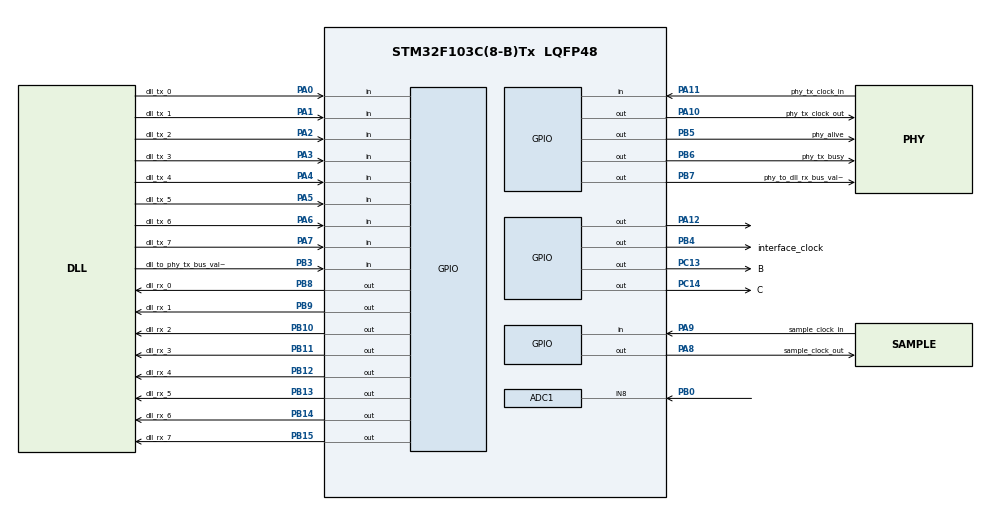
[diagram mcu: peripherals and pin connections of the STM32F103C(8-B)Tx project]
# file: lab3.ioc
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ADC1.Channel-0\#ChannelRegularConversion=ADC_CHANNEL_8
ADC1.ContinuousConvMode=ENABLE
ADC1.NbrOfConversionFlag=1
ADC1.Rank-0\#ChannelRegularConversion=1
ADC1.SamplingTime-0\#ChannelRegularConversion=ADC_SAMPLETIME_1CYCLE_5
ADC1.master=1
Mcu.Family=STM32F1
Mcu.Name=STM32F103C(8-B)Tx
Mcu.Package=LQFP48
NVIC.PriorityGroup=NVIC_PRIORITYGROUP_4
NVIC.TIM2_IRQn=true\:0\:0\:false\:true\:true\:1\:true
NVIC.TIM3_IRQn=true\:0\:0\:false\:true\:true\:2\:true
NVIC.TIM4_IRQn=true\:0\:0\:false\:true\:true\:3\:true
PA0-WKUP.GPIO_Label=dll_tx_0
PA0-WKUP.GPIO_PuPd=GPIO_PULLDOWN
PA0-WKUP.Signal=GPIO_Input
PA1.GPIO_Label=dll_tx_1
PA1.GPIO_PuPd=GPIO_PULLDOWN
PA1.Signal=GPIO_Input
PA10.GPIO_Label=phy_tx_clock_out
PA10.Signal=GPIO_Output
PA11.GPIO_Label=phy_tx_clock_in
PA11.GPIO_PuPd=GPIO_PULLDOWN
PA11.Signal=GPIO_Input
PA12.Signal=GPIO_Output
PA13.Mode=Serial_Wire
PA13.Signal=SYS_JTMS-SWDIO
PA14.Mode=Serial_Wire
PA14.Signal=SYS_JTCK-SWCLK
PA2.GPIO_Label=dll_tx_2
PA2.GPIO_PuPd=GPIO_PULLDOWN
PA2.Signal=GPIO_Input
PA3.GPIO_Label=dll_tx_3
PA3.GPIO_PuPd=GPIO_PULLDOWN
PA3.Signal=GPIO_Input
PA4.GPIO_Label=dll_tx_4
PA4.GPIO_PuPd=GPIO_PULLDOWN
PA4.Signal=GPIO_Input
PA5.GPIO_Label=dll_tx_5
PA5.GPIO_PuPd=GPIO_PULLDOWN
PA5.Signal=GPIO_Input
PA6.GPIO_Label=dll_tx_6
PA6.GPIO_PuPd=GPIO_PULLDOWN
PA6.Signal=GPIO_Input
PA7.GPIO_Label=dll_tx_7
PA7.GPIO_PuPd=GPIO_PULLDOWN
PA7.Signal=GPIO_Input
PA8.GPIO_Label=sample_clock_out
PA8.Signal=GPIO_Output
PA9.GPIO_Label=sample_clock_in
PA9.Signal=GPIO_Input
PB0.Signal=ADCx_IN8
PB10.GPIO_Label=dll_rx_2
PB10.Signal=GPIO_Output
PB11.GPIO_Label=dll_rx_3
PB11.Signal=GPIO_Output
PB12.GPIO_Label=dll_rx_4
PB12.Signal=GPIO_Output
PB13.GPIO_Label=dll_rx_5
PB13.Signal=GPIO_Output
PB14.GPIO_Label=dll_rx_6
PB14.Signal=GPIO_Output
PB15.GPIO_Label=dll_rx_7
PB15.Signal=GPIO_Output
PB3.GPIO_Label=dll_to_phy_tx_bus_valid
PB3.GPIO_PuPd=GPIO_PULLDOWN
PB3.Signal=GPIO_Input
PB4.GPIO_Label=interface_clock
PB4.Signal=GPIO_Output
PB5.GPIO_Label=phy_alive
PB5.Signal=GPIO_Output
PB6.GPIO_Label=phy_tx_busy
PB6.Signal=GPIO_Output
PB7.GPIO_Label=phy_to_dll_rx_bus_valid
PB7.Signal=GPIO_Output
PB8.GPIO_Label=dll_rx_0
PB8.Signal=GPIO_Output
PB9.GPIO_Label=dll_rx_1
PB9.Signal=GPIO_Output
PC13-TAMPER-RTC.GPIO_Label=B
PC13-TAMPER-RTC.Signal=GPIO_Output
PC14-OSC32_IN.GPIO_Label=C
PC14-OSC32_IN.Signal=GPIO_Output
ProjectManager.HeapSize=0x200
ProjectManager.StackSize=0x400
ProjectManager.TargetToolchain=MDK-ARM V5
RCC.APB1Freq_Value=8000000
RCC.APB2CLKDivider=RCC_HCLK_DIV16
RCC.APB2Freq_Value=500000
RCC.APB2TimFreq_Value=1000000
SH.ADCx_IN8.0=ADC1_IN8,IN8
TIM2.AutoReloadPreload=TIM_AUTORELOAD_PRELOAD_DISABLE
TIM2.Period=1
TIM2.Prescaler=4999
TIM3.Period=6
TIM3.Prescaler=3332
TIM4.AutoReloadPreload=TIM_AUTORELOAD_PRELOAD_DISABLE
TIM4.Period=1
TIM4.Prescaler=3332
VP_TIM2_VS_ClockSourceINT.Mode=Internal
VP_TIM3_VS_ClockSourceINT.Mode=Internal
VP_TIM4_VS_ClockSourceINT.Mode=Internal
board=custom

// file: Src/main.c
/**
  ******************************************************************************
  * @file           : main.c
  * @brief          : Main program body
  ******************************************************************************
  ** This notice applies to any and all portions of this file
  * that are not between comment pairs USER CODE BEGIN and
  * USER CODE END. Other portions of this file, whether
  * inserted by the user or by software development tools
  * are owned by their respective copyright owners.
  *
  * COPYRIGHT(c) 2020 STMicroelectronics
  *
  * Redistribution and use in source and binary forms, with or without modification,
  * are permitted provided that the following conditions are met:
  *   1. Redistributions of source code must retain the above copyright notice,
  *      this list of conditions and the following disclaimer.
  *   2. Redistributions in binary form must reproduce the above copyright notice,
  *      this list of conditions and the following disclaimer in the documentation
  *      and/or other materials provided with the distribution.
  *   3. Neither the name of STMicroelectronics nor the names of its contributors
  *      may be used to endorse or promote products derived from this software
  *      without specific prior written permission.
  *
  * THIS SOFTWARE IS PROVIDED BY THE COPYRIGHT HOLDERS AND CONTRIBUTORS "AS IS"
  * AND ANY EXPRESS OR IMPLIED WARRANTIES, INCLUDING, BUT NOT LIMITED TO, THE
  * IMPLIED WARRANTIES OF MERCHANTABILITY AND FITNESS FOR A PARTICULAR PURPOSE ARE
  * DISCLAIMED. IN NO EVENT SHALL THE COPYRIGHT HOLDER OR CONTRIBUTORS BE LIABLE
  * FOR ANY DIRECT, INDIRECT, INCIDENTAL, SPECIAL, EXEMPLARY, OR CONSEQUENTIAL
  * DAMAGES (INCLUDING, BUT NOT LIMITED TO, PROCUREMENT OF SUBSTITUTE GOODS OR
  * SERVICES; LOSS OF USE, DATA, OR PROFITS; OR BUSINESS INTERRUPTION) HOWEVER
  * CAUSED AND ON ANY THEORY OF LIABILITY, WHETHER IN CONTRACT, STRICT LIABILITY,
  * OR TORT (INCLUDING NEGLIGENCE OR OTHERWISE) ARISING IN ANY WAY OUT OF THE USE
  * OF THIS SOFTWARE, EVEN IF ADVISED OF THE POSSIBILITY OF SUCH DAMAGE.
  *
  ******************************************************************************
  */
#include "main.h"
#include "stm32f1xx_hal.h"

/* USER CODE BEGIN Includes */
#define TX_MASK_MAX 256
#define RX_MASK_MAX 128
#define BYTE_COUNT 8
#define GPIOA_IDR 0x40010808
#define GPIOB_ODR 0x40010C0C
#define HIGH 'H'
#define LOW 'L'
#define IDLE 'I'
#define HIGH_THRESH_MIN 3500 // 5000<high<7500 (not really,just for the sports)
#define LOW_THRESH_MAX  1500 // 0<low<2000 (not really,just for the sports)

#define RX_SYNC_STATE 100
#define RX_DATA_STATE 101
#define SAMPLE_MAX 5

/* USER CODE END Includes */

ADC_HandleTypeDef hadc1;

TIM_HandleTypeDef htim2;
TIM_HandleTypeDef htim3;
TIM_HandleTypeDef htim4;

/* USER CODE BEGIN PV */
/* Private variables ---------------------------------------------------------*/
uint32_t clock = 0;
static uint32_t sample_clock = 0;
uint32_t phy_to_dll_rx_bus = 0;
static uint32_t dll_to_phy_tx_bus;
static uint32_t dll_to_phy_tx_bus_valid = 0;
static uint32_t phy_to_dll_rx_bus_valid = 0;
uint8_t dll_new_data = 0;
uint32_t phy_rx_new_data = 0;
static char current_state = IDLE;
static uint32_t phy_tx_data_value = 0;
static uint32_t phy_rx_data_value = 0;
static uint32_t phy_rx_clock = 0;
static uint32_t interface_clock = 0;
uint32_t prev_tx_clock = 0;
uint32_t prev_rx_clock = 0;
uint32_t prev_interface_clock = 0;
uint8_t output_data = 0;

static uint32_t alive = 0;
static uint32_t phy_busy = 0;
static uint32_t rx_counter = 0;

uint32_t start_counting = 0;
uint32_t operation_counter = 0;
/* USER CODE END PV */

void SystemClock_Config(void);
static void MX_GPIO_Init(void);
static void MX_TIM2_Init(void);
static void MX_TIM3_Init(void);
static void MX_TIM4_Init(void);
static void MX_ADC1_Init(void);
static void MX_NVIC_Init(void);

/* USER CODE BEGIN PFP */
/* Private function prototypes -----------------------------------------------*/

/* USER CODE END PFP */

/* USER CODE BEGIN 0 */
/*
The funcion receives data from dll_tx to send, than sends it over the communication line
every time tx_clock is in rising edge.
In order to send the data the function starts a clock, than stops it in the end of the transfer.
*/

void send_state(char state)
{
	switch(state){
		case HIGH:
			HAL_GPIO_WritePin(C_GPIO_Port, C_Pin, GPIO_PIN_SET); //C=1
			HAL_GPIO_WritePin(B_GPIO_Port, B_Pin, GPIO_PIN_SET); //B=1
			break;
		case LOW:
			HAL_GPIO_WritePin(C_GPIO_Port, C_Pin, GPIO_PIN_SET); //C=1
			HAL_GPIO_WritePin(B_GPIO_Port, B_Pin, GPIO_PIN_RESET); //B=D
			break;
		case IDLE:
			HAL_GPIO_WritePin(C_GPIO_Port, C_Pin, GPIO_PIN_RESET); //C=0
			HAL_GPIO_WritePin(B_GPIO_Port, B_Pin, GPIO_PIN_RESET); //B=DC
			break;
		}
}
void phy_TX()
{

	//send_state(IDLE, &current_state);
	uint8_t next_state;
	static uint8_t masked_bit = 0;
	static uint8_t tx_first_state = 1;
	static uint8_t tx_preamble_counter = 0;
	static uint8_t data_to_send = 0;
	static uint32_t mask = 256;
	static uint8_t rose = 0;
	if(tx_first_state) //function first iteration, send IDLE
	{
		current_state = IDLE;
		send_state(IDLE);
		tx_first_state = 0;
	}
	if(dll_new_data)//dll tranfered new data to send
	{
		HAL_GPIO_WritePin(phy_tx_busy_GPIO_Port, phy_tx_busy_Pin, GPIO_PIN_SET);//set phy_tx_busy to 1
		phy_busy = 1;
		HAL_TIM_Base_Start(&htim3);
		HAL_TIM_Base_Start_IT(&htim3);
		dll_new_data = 0;
	}
	if(clock && !prev_tx_clock && (mask <= TX_MASK_MAX) && !rose)
	{
		rose = 1;
		if(tx_preamble_counter < 3)
		{
			current_state = HIGH;
			send_state(HIGH);
			tx_preamble_counter++;
		}
		else
		{

			masked_bit = dll_to_phy_tx_bus & mask;
			if(!masked_bit)
			{
				current_state = LOW;
				send_state(LOW);
			}
			else if(masked_bit == mask)
			{
				current_state = HIGH;
				send_state(HIGH);
			}

			mask*=2;
		}
	}
	else if(!clock && prev_tx_clock && mask <= TX_MASK_MAX && rose)
	{
		//send HIGH if in the last raising edge LOW was sent vice versa
		if(current_state == HIGH)
			current_state = LOW;
		else if(current_state == LOW)
			current_state = HIGH;

		rose = 0;
		send_state(current_state);
	}
	else if(mask > TX_MASK_MAX) //all 8-bits were sent
	{
		HAL_GPIO_WritePin(phy_tx_busy_GPIO_Port, phy_tx_busy_Pin, GPIO_PIN_RESET);//set phy_tx_busy to 0
		phy_busy = 0;
		HAL_TIM_Base_Stop(&htim3);
		HAL_TIM_Base_Stop_IT(&htim3);
		HAL_GPIO_WritePin(phy_tx_clock_out_GPIO_Port, phy_tx_clock_out_Pin, GPIO_PIN_RESET);
		current_state = IDLE;
		send_state(IDLE); //send idle
		mask = 1;
		tx_preamble_counter = 0;

	}

}

/*
The function receives a bit from the communication line every time the rx_clock is in falling edge.
After reeiving 8 bits the function transfers the data to the dll_rx.
*/

void phy_RX()
{
	uint32_t x = 5;
	static uint32_t first = 1;
	if(first)
	{
		HAL_TIM_Base_Start(&htim4);
		HAL_TIM_Base_Start_IT(&htim4);
		first = 0;
	}
}

/*
The function communicates with the dll layer
*/
void interface()
{
	static int first_rising_edge = 1;
	static int first_iteration = 1;
	static uint32_t *GPIOA_IDR_PTR = (uint32_t*)GPIOA_IDR;
	static uint32_t *GPIOB_ODR_PTR = (uint32_t*)GPIOB_ODR;
	static uint32_t da_bits = 0;
	if(first_iteration)//first iteration of the function means the interface clock isnt on.
	{
		HAL_TIM_Base_Start(&htim2);
		HAL_TIM_Base_Start_IT(&htim2);
		first_iteration = 0;
	}
	else if(prev_interface_clock && !interface_clock && HAL_GPIO_ReadPin(dll_to_phy_tx_bus_valid_GPIO_Port,dll_to_phy_tx_bus_valid_Pin))
	{//interface clock on falling edge and dll sent new data(valid == 1)
		dll_to_phy_tx_bus = (*GPIOA_IDR_PTR & 255);
		dll_new_data = 1;
	}
	else if(!prev_interface_clock && interface_clock)
	{//interface clock on rising edge
		if(first_rising_edge)
		{
			HAL_GPIO_WritePin(phy_alive_GPIO_Port,phy_alive_Pin,GPIO_PIN_SET);
			first_rising_edge = 0;
			alive = 1;
		}
		if(HAL_GPIO_ReadPin(phy_to_dll_rx_bus_valid_GPIO_Port,phy_to_dll_rx_bus_valid_Pin)) //reset valid one clock cycle after data had been already happend in the past progressive sent to the dll(grammer bitch)
		{//if the valid is 1, which means data was sent to the dll one clock cycke ago, we need to reset valid to 0
			HAL_GPIO_WritePin(phy_to_dll_rx_bus_valid_GPIO_Port,phy_to_dll_rx_bus_valid_Pin,GPIO_PIN_RESET);
			phy_to_dll_rx_bus_valid = 0;
		}
		if(phy_rx_new_data)
		{//phy_tx received new data, send it to the dll than
			da_bits = (*GPIOB_ODR_PTR & 255) + (phy_to_dll_rx_bus << 8);
			*GPIOB_ODR_PTR = da_bits;
			HAL_GPIO_WritePin(phy_to_dll_rx_bus_valid_GPIO_Port,phy_to_dll_rx_bus_valid_Pin,GPIO_PIN_SET);
			phy_to_dll_rx_bus_valid = 1;
			phy_rx_new_data = 0;
		}
	}
}

void sampleClocks()
{
	prev_tx_clock = clock;
	prev_interface_clock = interface_clock;
	clock = HAL_GPIO_ReadPin(phy_tx_clock_in_GPIO_Port,phy_tx_clock_in_Pin);
	sample_clock = HAL_GPIO_ReadPin(sample_clock_out_GPIO_Port, sample_clock_out_Pin);
	//phy_rx_clock = HAL_GPIO_ReadPin(phy_rx_clock_GPIO_Port,phy_rx_clock_Pin);
	interface_clock = HAL_GPIO_ReadPin(interface_clock_GPIO_Port,interface_clock_Pin);
	dll_to_phy_tx_bus_valid = HAL_GPIO_ReadPin(dll_to_phy_tx_bus_valid_GPIO_Port, dll_to_phy_tx_bus_valid_Pin);
	phy_to_dll_rx_bus_valid = HAL_GPIO_ReadPin(phy_to_dll_rx_bus_valid_GPIO_Port, phy_to_dll_rx_bus_valid_Pin);
}

void phy_layer()
{
	phy_TX();
	phy_RX();
}
/* USER CODE END 0 */

int main(void)
{

  /* MCU Configuration----------------------------------------------------------*/

  /* Reset of all peripherals, Initializes the Flash interface and the Systick. */
  HAL_Init();

  /* Configure the system clock */
  SystemClock_Config();

  /* Initialize all configured peripherals */
  MX_GPIO_Init();
  MX_TIM2_Init();
  MX_TIM3_Init();
  MX_TIM4_Init();
  MX_ADC1_Init();

  /* Initialize interrupts */
  MX_NVIC_Init();
  /* USER CODE BEGIN 2 */
	HAL_ADC_Start(&hadc1);
	//HAL_GPIO_WritePin(phy_tx_clock_GPIO_Port,phy_tx_clock_Pin, GPIO_PIN_RESET);//set clock to 0
	HAL_GPIO_WritePin(interface_clock_GPIO_Port,interface_clock_Pin, GPIO_PIN_RESET);//set clock to 0
	HAL_GPIO_WritePin(phy_to_dll_rx_bus_valid_GPIO_Port,phy_to_dll_rx_bus_valid_Pin,GPIO_PIN_RESET);//set valid to 0
	clock = 0;
	phy_rx_clock = 0;
	interface_clock = 0;
  /* USER CODE END 2 */

  /* Infinite loop */
  /* USER CODE BEGIN WHILE */
  while (1)
  {
		phy_layer();
		interface();
		sampleClocks();
  /* USER CODE END WHILE */

  }

}

void SystemClock_Config(void)
{

  RCC_OscInitTypeDef RCC_OscInitStruct;
  RCC_ClkInitTypeDef RCC_ClkInitStruct;
  RCC_PeriphCLKInitTypeDef PeriphClkInit;

    /**Initializes the CPU, AHB and APB busses clocks
    */
  RCC_OscInitStruct.OscillatorType = RCC_OSCILLATORTYPE_HSI;
  RCC_OscInitStruct.HSIState = RCC_HSI_ON;
  RCC_OscInitStruct.HSICalibrationValue = 16;
  RCC_OscInitStruct.PLL.PLLState = RCC_PLL_NONE;
  if (HAL_RCC_OscConfig(&RCC_OscInitStruct) != HAL_OK)
  {
    _Error_Handler(__FILE__, __LINE__);
  }

    /**Initializes the CPU, AHB and APB busses clocks
    */
  RCC_ClkInitStruct.ClockType = RCC_CLOCKTYPE_HCLK|RCC_CLOCKTYPE_SYSCLK
                              |RCC_CLOCKTYPE_PCLK1|RCC_CLOCKTYPE_PCLK2;
  RCC_ClkInitStruct.SYSCLKSource = RCC_SYSCLKSOURCE_HSI;
  RCC_ClkInitStruct.AHBCLKDivider = RCC_SYSCLK_DIV1;
  RCC_ClkInitStruct.APB1CLKDivider = RCC_HCLK_DIV1;
  RCC_ClkInitStruct.APB2CLKDivider = RCC_HCLK_DIV16;

  if (HAL_RCC_ClockConfig(&RCC_ClkInitStruct, FLASH_LATENCY_0) != HAL_OK)
  {
    _Error_Handler(__FILE__, __LINE__);
  }

  PeriphClkInit.PeriphClockSelection = RCC_PERIPHCLK_ADC;
  PeriphClkInit.AdcClockSelection = RCC_ADCPCLK2_DIV2;
  if (HAL_RCCEx_PeriphCLKConfig(&PeriphClkInit) != HAL_OK)
  {
    _Error_Handler(__FILE__, __LINE__);
  }

    /**Configure the Systick interrupt time
    */
  HAL_SYSTICK_Config(HAL_RCC_GetHCLKFreq()/1000);

    /**Configure the Systick
    */
  HAL_SYSTICK_CLKSourceConfig(SYSTICK_CLKSOURCE_HCLK);

  /* SysTick_IRQn interrupt configuration */
  HAL_NVIC_SetPriority(SysTick_IRQn, 0, 0);
}

/**
  * @brief NVIC Configuration.
  * @retval None
  */
static void MX_NVIC_Init(void)
{
  /* TIM2_IRQn interrupt configuration */
  HAL_NVIC_SetPriority(TIM2_IRQn, 0, 0);
  HAL_NVIC_EnableIRQ(TIM2_IRQn);
  /* TIM3_IRQn interrupt configuration */
  HAL_NVIC_SetPriority(TIM3_IRQn, 0, 0);
  HAL_NVIC_EnableIRQ(TIM3_IRQn);
  /* TIM4_IRQn interrupt configuration */
  HAL_NVIC_SetPriority(TIM4_IRQn, 0, 0);
  HAL_NVIC_EnableIRQ(TIM4_IRQn);
}

/* ADC1 init function */
static void MX_ADC1_Init(void)
{

  ADC_ChannelConfTypeDef sConfig;

    /**Common config
    */
  hadc1.Instance = ADC1;
  hadc1.Init.ScanConvMode = ADC_SCAN_DISABLE;
  hadc1.Init.ContinuousConvMode = ENABLE;
  hadc1.Init.DiscontinuousConvMode = DISABLE;
  hadc1.Init.ExternalTrigConv = ADC_SOFTWARE_START;
  hadc1.Init.DataAlign = ADC_DATAALIGN_RIGHT;
  hadc1.Init.NbrOfConversion = 1;
  if (HAL_ADC_Init(&hadc1) != HAL_OK)
  {
    _Error_Handler(__FILE__, __LINE__);
  }

    /**Configure Regular Channel
    */
  sConfig.Channel = ADC_CHANNEL_8;
  sConfig.Rank = ADC_REGULAR_RANK_1;
  sConfig.SamplingTime = ADC_SAMPLETIME_1CYCLE_5;
  if (HAL_ADC_ConfigChannel(&hadc1, &sConfig) != HAL_OK)
  {
    _Error_Handler(__FILE__, __LINE__);
  }

}

/* TIM2 init function */
static void MX_TIM2_Init(void)
{

  TIM_ClockConfigTypeDef sClockSourceConfig;
  TIM_MasterConfigTypeDef sMasterConfig;

  htim2.Instance = TIM2;
  htim2.Init.Prescaler = 4999;
  htim2.Init.CounterMode = TIM_COUNTERMODE_UP;
  htim2.Init.Period = 1;
  htim2.Init.ClockDivision = TIM_CLOCKDIVISION_DIV1;
  htim2.Init.AutoReloadPreload = TIM_AUTORELOAD_PRELOAD_DISABLE;
  if (HAL_TIM_Base_Init(&htim2) != HAL_OK)
  {
    _Error_Handler(__FILE__, __LINE__);
  }

  sClockSourceConfig.ClockSource = TIM_CLOCKSOURCE_INTERNAL;
  if (HAL_TIM_ConfigClockSource(&htim2, &sClockSourceConfig) != HAL_OK)
  {
    _Error_Handler(__FILE__, __LINE__);
  }

  sMasterConfig.MasterOutputTrigger = TIM_TRGO_RESET;
  sMasterConfig.MasterSlaveMode = TIM_MASTERSLAVEMODE_DISABLE;
  if (HAL_TIMEx_MasterConfigSynchronization(&htim2, &sMasterConfig) != HAL_OK)
  {
    _Error_Handler(__FILE__, __LINE__);
  }

}

/* TIM3 init function */
static void MX_TIM3_Init(void)
{

  TIM_ClockConfigTypeDef sClockSourceConfig;
  TIM_MasterConfigTypeDef sMasterConfig;

  htim3.Instance = TIM3;
  htim3.Init.Prescaler = 3332;
  htim3.Init.CounterMode = TIM_COUNTERMODE_UP;
  htim3.Init.Period = 6;
  htim3.Init.ClockDivision = TIM_CLOCKDIVISION_DIV1;
  htim3.Init.AutoReloadPreload = TIM_AUTORELOAD_PRELOAD_DISABLE;
  if (HAL_TIM_Base_Init(&htim3) != HAL_OK)
  {
    _Error_Handler(__FILE__, __LINE__);
  }

  sClockSourceConfig.ClockSource = TIM_CLOCKSOURCE_INTERNAL;
  if (HAL_TIM_ConfigClockSource(&htim3, &sClockSourceConfig) != HAL_OK)
  {
    _Error_Handler(__FILE__, __LINE__);
  }

  sMasterConfig.MasterOutputTrigger = TIM_TRGO_RESET;
  sMasterConfig.MasterSlaveMode = TIM_MASTERSLAVEMODE_DISABLE;
  if (HAL_TIMEx_MasterConfigSynchronization(&htim3, &sMasterConfig) != HAL_OK)
  {
    _Error_Handler(__FILE__, __LINE__);
  }

}

/* TIM4 init function */
static void MX_TIM4_Init(void)
{

  TIM_ClockConfigTypeDef sClockSourceConfig;
  TIM_MasterConfigTypeDef sMasterConfig;

  htim4.Instance = TIM4;
  htim4.Init.Prescaler = 3332;
  htim4.Init.CounterMode = TIM_COUNTERMODE_UP;
  htim4.Init.Period = 1;
  htim4.Init.ClockDivision = TIM_CLOCKDIVISION_DIV1;
  htim4.Init.AutoReloadPreload = TIM_AUTORELOAD_PRELOAD_DISABLE;
  if (HAL_TIM_Base_Init(&htim4) != HAL_OK)
  {
    _Error_Handler(__FILE__, __LINE__);
  }

  sClockSourceConfig.ClockSource = TIM_CLOCKSOURCE_INTERNAL;
  if (HAL_TIM_ConfigClockSource(&htim4, &sClockSourceConfig) != HAL_OK)
  {
    _Error_Handler(__FILE__, __LINE__);
  }

  sMasterConfig.MasterOutputTrigger = TIM_TRGO_RESET;
  sMasterConfig.MasterSlaveMode = TIM_MASTERSLAVEMODE_DISABLE;
  if (HAL_TIMEx_MasterConfigSynchronization(&htim4, &sMasterConfig) != HAL_OK)
  {
    _Error_Handler(__FILE__, __LINE__);
  }

}

/** Configure pins as
        * Analog
        * Input
        * Output
        * EVENT_OUT
        * EXTI
*/
static void MX_GPIO_Init(void)
{

  GPIO_InitTypeDef GPIO_InitStruct;

  /* GPIO Ports Clock Enable */
  __HAL_RCC_GPIOC_CLK_ENABLE();
  __HAL_RCC_GPIOA_CLK_ENABLE();
  __HAL_RCC_GPIOB_CLK_ENABLE();

  /*Configure GPIO pin Output Level */
  HAL_GPIO_WritePin(GPIOC, B_Pin|C_Pin, GPIO_PIN_RESET);

  /*Configure GPIO pin Output Level */
  HAL_GPIO_WritePin(GPIOB, dll_rx_2_Pin|dll_rx_3_Pin|dll_rx_4_Pin|dll_rx_5_Pin
                          |dll_rx_6_Pin|dll_rx_7_Pin|interface_clock_Pin|phy_alive_Pin
                          |phy_tx_busy_Pin|phy_to_dll_rx_bus_valid_Pin|dll_rx_0_Pin|dll_rx_1_Pin, GPIO_PIN_RESET);

  /*Configure GPIO pin Output Level */
  HAL_GPIO_WritePin(GPIOA, sample_clock_out_Pin|phy_tx_clock_out_Pin|GPIO_PIN_12, GPIO_PIN_RESET);

  /*Configure GPIO pins : B_Pin C_Pin */
  GPIO_InitStruct.Pin = B_Pin|C_Pin;
  GPIO_InitStruct.Mode = GPIO_MODE_OUTPUT_PP;
  GPIO_InitStruct.Pull = GPIO_NOPULL;
  GPIO_InitStruct.Speed = GPIO_SPEED_FREQ_LOW;
  HAL_GPIO_Init(GPIOC, &GPIO_InitStruct);

  /*Configure GPIO pins : dll_tx_0_Pin dll_tx_1_Pin dll_tx_2_Pin dll_tx_3_Pin
                           dll_tx_4_Pin dll_tx_5_Pin dll_tx_6_Pin dll_tx_7_Pin
                           phy_tx_clock_in_Pin */
  GPIO_InitStruct.Pin = dll_tx_0_Pin|dll_tx_1_Pin|dll_tx_2_Pin|dll_tx_3_Pin
                          |dll_tx_4_Pin|dll_tx_5_Pin|dll_tx_6_Pin|dll_tx_7_Pin
                          |phy_tx_clock_in_Pin;
  GPIO_InitStruct.Mode = GPIO_MODE_INPUT;
  GPIO_InitStruct.Pull = GPIO_PULLDOWN;
  HAL_GPIO_Init(GPIOA, &GPIO_InitStruct);

  /*Configure GPIO pins : dll_rx_2_Pin dll_rx_3_Pin dll_rx_4_Pin dll_rx_5_Pin
                           dll_rx_6_Pin dll_rx_7_Pin interface_clock_Pin phy_alive_Pin
                           phy_tx_busy_Pin phy_to_dll_rx_bus_valid_Pin dll_rx_0_Pin dll_rx_1_Pin */
  GPIO_InitStruct.Pin = dll_rx_2_Pin|dll_rx_3_Pin|dll_rx_4_Pin|dll_rx_5_Pin
                          |dll_rx_6_Pin|dll_rx_7_Pin|interface_clock_Pin|phy_alive_Pin
                          |phy_tx_busy_Pin|phy_to_dll_rx_bus_valid_Pin|dll_rx_0_Pin|dll_rx_1_Pin;
  GPIO_InitStruct.Mode = GPIO_MODE_OUTPUT_PP;
  GPIO_InitStruct.Pull = GPIO_NOPULL;
  GPIO_InitStruct.Speed = GPIO_SPEED_FREQ_LOW;
  HAL_GPIO_Init(GPIOB, &GPIO_InitStruct);

  /*Configure GPIO pins : sample_clock_out_Pin phy_tx_clock_out_Pin PA12 */
  GPIO_InitStruct.Pin = sample_clock_out_Pin|phy_tx_clock_out_Pin|GPIO_PIN_12;
  GPIO_InitStruct.Mode = GPIO_MODE_OUTPUT_PP;
  GPIO_InitStruct.Pull = GPIO_NOPULL;
  GPIO_InitStruct.Speed = GPIO_SPEED_FREQ_LOW;
  HAL_GPIO_Init(GPIOA, &GPIO_InitStruct);

  /*Configure GPIO pin : sample_clock_in_Pin */
  GPIO_InitStruct.Pin = sample_clock_in_Pin;
  GPIO_InitStruct.Mode = GPIO_MODE_INPUT;
  GPIO_InitStruct.Pull = GPIO_NOPULL;
  HAL_GPIO_Init(sample_clock_in_GPIO_Port, &GPIO_InitStruct);

  /*Configure GPIO pin : dll_to_phy_tx_bus_valid_Pin */
  GPIO_InitStruct.Pin = dll_to_phy_tx_bus_valid_Pin;
  GPIO_InitStruct.Mode = GPIO_MODE_INPUT;
  GPIO_InitStruct.Pull = GPIO_PULLDOWN;
  HAL_GPIO_Init(dll_to_phy_tx_bus_valid_GPIO_Port, &GPIO_InitStruct);

}

void _Error_Handler(char *file, int line)
{
  while(1)
  {
  }
}

/************************ (C) COPYRIGHT STMicroelectronics *****END OF FILE****/
